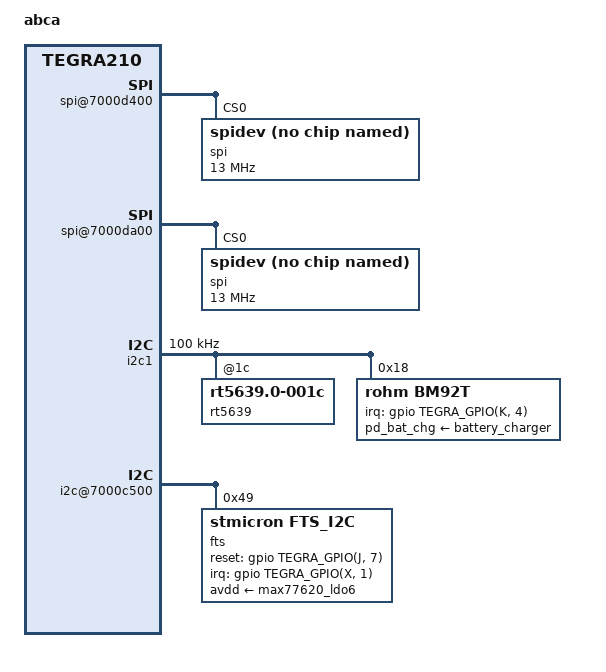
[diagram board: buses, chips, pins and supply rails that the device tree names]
/*
 * arch/arm64/boot/dts/tegra210-abca-04-00.dts
 *
 * Copyright (c) 2014-2016, NVIDIA CORPORATION.  All rights reserved.
 *
 * This program is free software; you can redistribute it and/or modify
 * it under the terms of the GNU General Public License as published by
 * the Free Software Foundation; version 2 of the License.
 *
 * This program is distributed in the hope that it will be useful, but WITHOUT
 * ANY WARRANTY; without even the implied warranty of MERCHANTABILITY or
 * FITNESS FOR A PARTICULAR PURPOSE.  See the GNU General Public License for
 * more details.
 *
 */

#include "tegra210-abca-common.dtsi"
#include "tegra210-abca-common-disp.dtsi"
#include "abca-platforms/tegra210-abca-power-tree-04-00.dtsi"
#include "abca-platforms/tegra210-abca-02-00-emc.dtsi"
#include "abca-platforms/tegra210-abca-sensor-04-00.dtsi"
#include "abca-platforms/tegra210-abca-powermon.dtsi"

/ {
	model = "abca";
	compatible = "nvidia,abca", "nvidia,tegra210";
	nvidia,dtsfilename = __FILE__;

	#address-cells = <2>;
	#size-cells = <2>;

	extcon {
		extcon@0 {
			status = "disabled";
		};
	};

	xudc@700d0000 {
		extcon-cables = <&bm92t 1>;
		extcon-cable-names = "vbus";
	};

	xusb@70090000 {
		extcon-cables = <&bm92t 0>;
		extcon-cable-names = "id";
	};

	spi@7000d400 {
		status = "okay";
		spi@0 {
			compatible = "spidev";
			reg = <0>;
			spi-max-frequency = <13000000>;
		};
	};
	spi@7000da00 {
		status = "okay";
		spi@0 {
			compatible = "spidev";
			reg = <0>;
			spi-max-frequency = <13000000>;
		};
	};

	i2c1: i2c@7000c000 {
		clock-frequency = <100000>;
	};

	i2c@7000c000 {
		rt5639: rt5639.0-001c@1c {
			sel_jd_source = <4>;
		};
		bm92t: bm92t@18 {
			compatible = "rohm,bm92t";
			reg = <0x18>;
			interrupt-parent = <&gpio>;
			interrupts = <TEGRA_GPIO(K, 4) 0x01>;
			#extcon-cells = <1>;
			pd_bat_chg-supply = <&battery_charger>;
		};
	};

	i2c@7000c500 {
		fts@49 {
			compatible = "stmicron,fts_i2c";
			reg = <0x49>;
			interrupt-parent = <&gpio>;
			interrupts = <TEGRA_GPIO(X, 1) 0x01>; /* GPIO_PX1 */
			reset-gpio = <&gpio TEGRA_GPIO(J, 7) 0>; /* GPIO_PJ7 */
			avdd-supply = <&max77620_ldo6>;
		};
	};

	psy_extcon_xudc {
		compatible = "power-supply-extcon";
		extcon-cables = <&usb_cd 1 &usb_cd 2 &usb_cd 3
				&usb_cd 4 &usb_cd 5 &usb_cd 6
				&usb_cd 7 &usb_cd 8 &usb_cd 9 &bm92t 2>;
		extcon-cable-names = "usb-charger", "ta-charger", "maxim-charger",
				"qc2-charger", "downstream-charger", "slow-charger",
				"apple-500ma", "apple-1a", "apple-2a", "usb-pd";
		status = "disabled";
		dt-override-status-odm-data = <0x1000000 0x1000000>;
	};

};
